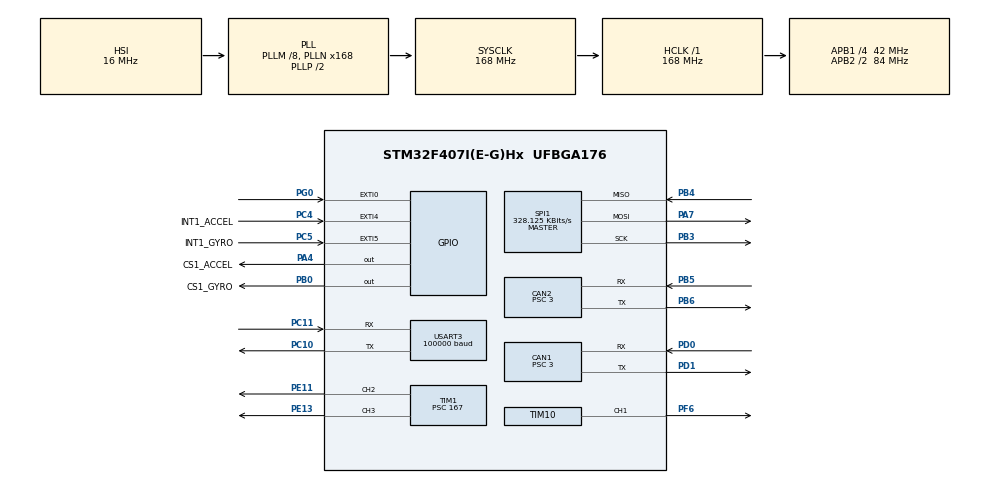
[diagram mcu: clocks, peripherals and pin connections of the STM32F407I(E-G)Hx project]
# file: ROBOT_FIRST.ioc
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CAN1.ABOM=ENABLE
CAN1.BS1=CAN_BS1_11TQ
CAN1.BS2=CAN_BS2_2TQ
CAN1.CalculateBaudRate=1000000
CAN1.CalculateTimeBit=1000
CAN1.CalculateTimeQuantum=71.42857142857143
CAN1.NART=ENABLE
CAN1.Prescaler=3
CAN2.BS1=CAN_BS1_11TQ
CAN2.BS2=CAN_BS2_2TQ
CAN2.CalculateBaudRate=1000000
CAN2.CalculateTimeBit=1000
CAN2.CalculateTimeQuantum=71.42857142857143
CAN2.NART=ENABLE
CAN2.Prescaler=3
Dma.Request0=USART3_RX
Dma.Request1=SPI1_RX
Dma.Request2=SPI1_TX
Dma.SPI1_RX.1.Direction=DMA_PERIPH_TO_MEMORY
Dma.SPI1_RX.1.FIFOMode=DMA_FIFOMODE_DISABLE
Dma.SPI1_RX.1.Instance=DMA2_Stream2
Dma.SPI1_RX.1.MemDataAlignment=DMA_MDATAALIGN_BYTE
Dma.SPI1_RX.1.MemInc=DMA_MINC_ENABLE
Dma.SPI1_RX.1.Mode=DMA_NORMAL
Dma.SPI1_RX.1.PeriphDataAlignment=DMA_PDATAALIGN_BYTE
Dma.SPI1_RX.1.PeriphInc=DMA_PINC_DISABLE
Dma.SPI1_RX.1.Priority=DMA_PRIORITY_LOW
Dma.SPI1_TX.2.Direction=DMA_MEMORY_TO_PERIPH
Dma.SPI1_TX.2.FIFOMode=DMA_FIFOMODE_DISABLE
Dma.SPI1_TX.2.Instance=DMA2_Stream3
Dma.SPI1_TX.2.MemDataAlignment=DMA_MDATAALIGN_BYTE
Dma.SPI1_TX.2.MemInc=DMA_MINC_ENABLE
Dma.SPI1_TX.2.Mode=DMA_NORMAL
Dma.SPI1_TX.2.PeriphDataAlignment=DMA_PDATAALIGN_BYTE
Dma.SPI1_TX.2.PeriphInc=DMA_PINC_DISABLE
Dma.SPI1_TX.2.Priority=DMA_PRIORITY_LOW
Dma.USART3_RX.0.Direction=DMA_PERIPH_TO_MEMORY
Dma.USART3_RX.0.FIFOMode=DMA_FIFOMODE_DISABLE
Dma.USART3_RX.0.Instance=DMA1_Stream1
Dma.USART3_RX.0.MemDataAlignment=DMA_MDATAALIGN_BYTE
Dma.USART3_RX.0.MemInc=DMA_MINC_ENABLE
Dma.USART3_RX.0.Mode=DMA_NORMAL
Dma.USART3_RX.0.PeriphDataAlignment=DMA_PDATAALIGN_BYTE
Dma.USART3_RX.0.PeriphInc=DMA_PINC_DISABLE
Dma.USART3_RX.0.Priority=DMA_PRIORITY_LOW
FREERTOS.Tasks01=defaultTask,24,128,StartDefaultTask,Default,NULL,Dynamic,NULL,NULL;RobotTask,32,512,StartRobotTask,Default,NULL,Dynamic,NULL,NULL
Mcu.Family=STM32F4
Mcu.Name=STM32F407I(E-G)Hx
Mcu.Package=UFBGA176
NVIC.CAN1_RX0_IRQn=true\:5\:0\:false\:false\:true\:true\:true\:true\:true
NVIC.CAN2_RX0_IRQn=true\:5\:0\:false\:false\:true\:true\:true\:true\:true
NVIC.DMA1_Stream1_IRQn=true\:5\:0\:false\:false\:true\:true\:false\:true\:true
NVIC.DMA2_Stream2_IRQn=true\:5\:0\:false\:false\:true\:false\:false\:true\:true
NVIC.DMA2_Stream3_IRQn=true\:5\:0\:false\:false\:true\:true\:false\:true\:true
NVIC.EXTI0_IRQn=true\:5\:0\:false\:false\:true\:true\:true\:true\:true
NVIC.EXTI4_IRQn=true\:5\:0\:false\:false\:true\:true\:true\:true\:true
NVIC.EXTI9_5_IRQn=true\:5\:0\:false\:false\:true\:true\:true\:true\:true
NVIC.PriorityGroup=NVIC_PRIORITYGROUP_4
NVIC.TIM7_IRQn=true\:15\:0\:false\:false\:true\:false\:false\:true\:true
NVIC.TimeBase=TIM7_IRQn
NVIC.TimeBaseIP=TIM7
NVIC.USART3_IRQn=true\:5\:0\:false\:false\:true\:true\:true\:true\:true
PA13.Mode=Serial_Wire
PA13.Signal=SYS_JTMS-SWDIO
PA14.Mode=Serial_Wire
PA14.Signal=SYS_JTCK-SWCLK
PA4.GPIO_Label=CS1_ACCEL
PA4.GPIO_PuPd=GPIO_PULLUP
PA4.GPIO_Speed=GPIO_SPEED_FREQ_HIGH
PA4.PinState=GPIO_PIN_SET
PA4.Signal=GPIO_Output
PA7.GPIO_PuPd=GPIO_PULLUP
PA7.Mode=Full_Duplex_Master
PA7.Signal=SPI1_MOSI
PB0.GPIO_Label=CS1_GYRO
PB0.GPIO_PuPd=GPIO_PULLUP
PB0.GPIO_Speed=GPIO_SPEED_FREQ_HIGH
PB0.PinState=GPIO_PIN_SET
PB0.Signal=GPIO_Output
PB3.GPIO_PuPd=GPIO_PULLUP
PB3.Mode=Full_Duplex_Master
PB3.Signal=SPI1_SCK
PB4.GPIO_PuPd=GPIO_PULLUP
PB4.Mode=Full_Duplex_Master
PB4.Signal=SPI1_MISO
PB5.Mode=CAN_Activate
PB5.Signal=CAN2_RX
PB6.Mode=CAN_Activate
PB6.Signal=CAN2_TX
PC10.Mode=Asynchronous
PC10.Signal=USART3_TX
PC11.Mode=Asynchronous
PC11.Signal=USART3_RX
PC4.GPIO_Label=INT1_ACCEL
PC4.GPIO_ModeDefaultEXTI=GPIO_MODE_IT_FALLING
PC4.GPIO_PuPd=GPIO_PULLUP
PC4.Signal=GPXTI4
PC5.GPIO_Label=INT1_GYRO
PC5.GPIO_ModeDefaultEXTI=GPIO_MODE_IT_FALLING
PC5.GPIO_PuPd=GPIO_PULLUP
PC5.Signal=GPXTI5
PD0.Mode=CAN_Activate
PD0.Signal=CAN1_RX
PD1.Mode=CAN_Activate
PD1.Signal=CAN1_TX
PE11.Signal=S_TIM1_CH2
PE13.Signal=S_TIM1_CH3
PE9.Signal=S_TIM1_CH1
PF6.Signal=S_TIM10_CH1
PG0.GPIO_ModeDefaultEXTI=GPIO_MODE_IT_FALLING
PG0.GPIO_PuPd=GPIO_PULLUP
PG0.Signal=GPXTI0
PH0-OSC_IN.Mode=HSE-External-Oscillator
PH0-OSC_IN.Signal=RCC_OSC_IN
PH1-OSC_OUT.Mode=HSE-External-Oscillator
PH1-OSC_OUT.Signal=RCC_OSC_OUT
ProjectManager.HeapSize=0x200
ProjectManager.StackSize=0x400
ProjectManager.TargetToolchain=CMake
RCC.48MHZClocksFreq_Value=84000000
RCC.AHBFreq_Value=168000000
RCC.APB1CLKDivider=RCC_HCLK_DIV4
RCC.APB1Freq_Value=42000000
RCC.APB1TimFreq_Value=84000000
RCC.APB2CLKDivider=RCC_HCLK_DIV2
RCC.APB2Freq_Value=84000000
RCC.APB2TimFreq_Value=168000000
RCC.CortexFreq_Value=168000000
RCC.HCLKFreq_Value=168000000
RCC.HSE_VALUE=25000000
RCC.HSI_VALUE=16000000
RCC.LSE_VALUE=32768
RCC.PLLM=8
RCC.PLLN=168
RCC.SYSCLKFreq_VALUE=168000000
RCC.SYSCLKSource=RCC_SYSCLKSOURCE_PLLCLK
RCC.VCOOutputFreq_Value=336000000
SH.S_TIM10_CH1.0=TIM10_CH1,PWM Generation1 CH1
SH.S_TIM1_CH1.0=TIM1_CH1
SH.S_TIM1_CH2.0=TIM1_CH2,PWM Generation2 CH2
SH.S_TIM1_CH3.0=TIM1_CH3,PWM Generation3 CH3
SPI1.BaudRatePrescaler=SPI_BAUDRATEPRESCALER_256
SPI1.CLKPhase=SPI_PHASE_2EDGE
SPI1.CLKPolarity=SPI_POLARITY_HIGH
SPI1.CalculateBaudRate=328.125 KBits/s
SPI1.Direction=SPI_DIRECTION_2LINES
SPI1.Mode=SPI_MODE_MASTER
SPI1.VirtualType=VM_MASTER
TIM1.Channel-PWM\ Generation2\ CH2=TIM_CHANNEL_2
TIM1.Channel-PWM\ Generation3\ CH3=TIM_CHANNEL_3
TIM1.Period=19999
TIM1.Prescaler=167
TIM1.Pulse-PWM\ Generation2\ CH2=1500
TIM10.Channel=TIM_CHANNEL_1
TIM10.Period=4999
USART3.BaudRate=100000
USART3.Mode=MODE_RX
USART3.Parity=PARITY_EVEN
USART3.VirtualMode=VM_ASYNC
USART3.WordLength=WORDLENGTH_9B
VP_FREERTOS_VS_CMSIS_V2.Mode=CMSIS_V2
VP_SYS_VS_tim7.Mode=TIM7
VP_TIM10_VS_ClockSourceINT.Mode=Enable_Timer
VP_TIM1_VS_ClockSourceINT.Mode=Internal
board=custom

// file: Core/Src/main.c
/* USER CODE BEGIN Header */
/**
  ******************************************************************************
  * @file           : main.c
  * @brief          : Main program body
  ******************************************************************************
  * @attention
  *
  * Copyright (c) 2026 STMicroelectronics.
  * All rights reserved.
  *
  * This software is licensed under terms that can be found in the LICENSE file
  * in the root directory of this software component.
  * If no LICENSE file comes with this software, it is provided AS-IS.
  *
  ******************************************************************************
  */
/* USER CODE END Header */
#include "main.h"
#include "cmsis_os.h"
#include "can.h"
#include "dma.h"
#include "spi.h"
#include "tim.h"
#include "usart.h"
#include "gpio.h"

/* USER CODE BEGIN Includes */
#include "robot.hpp"
#include "bsp_delay.hpp"
/* USER CODE END Includes */

void SystemClock_Config(void);
void MX_FREERTOS_Init(void);

int main(void)
{

  /* MCU Configuration--------------------------------------------------------*/

  /* Reset of all peripherals, Initializes the Flash interface and the Systick. */
  HAL_Init();

  /* Configure the system clock */
  SystemClock_Config();

  /* Initialize all configured peripherals */
  MX_GPIO_Init();
  MX_DMA_Init();
  MX_CAN1_Init();
  MX_TIM1_Init();
  MX_USART3_UART_Init();
  MX_CAN2_Init();
  MX_SPI1_Init();
  MX_TIM10_Init();
  /* USER CODE BEGIN 2 */
  /*
   * Robot_Init starts CAN reception, the remote-control DMA receiver, and
   * the three servo PWM channels.  Start the control timer only after those
   * peripherals are ready, so Robot_Task cannot run against partial state.
   */
  delay_init();
  Robot_Init();
  /* USER CODE END 2 */

  /* Init scheduler */
  osKernelInitialize();

  /* Call init function for freertos objects (in cmsis_os2.c) */
  MX_FREERTOS_Init();

  /* Start scheduler */
  osKernelStart();

  /* We should never get here as control is now taken by the scheduler */

  /* Infinite loop */
  while (1)
  {

  }
}

void SystemClock_Config(void)
{
  RCC_OscInitTypeDef RCC_OscInitStruct = {0};
  RCC_ClkInitTypeDef RCC_ClkInitStruct = {0};

  /** Configure the main internal regulator output voltage
  */
  __HAL_RCC_PWR_CLK_ENABLE();
  __HAL_PWR_VOLTAGESCALING_CONFIG(PWR_REGULATOR_VOLTAGE_SCALE1);

  /** Initializes the RCC Oscillators according to the specified parameters
  * in the RCC_OscInitTypeDef structure.
  */
  RCC_OscInitStruct.OscillatorType = RCC_OSCILLATORTYPE_HSI;
  RCC_OscInitStruct.HSIState = RCC_HSI_ON;
  RCC_OscInitStruct.HSICalibrationValue = RCC_HSICALIBRATION_DEFAULT;
  RCC_OscInitStruct.PLL.PLLState = RCC_PLL_ON;
  RCC_OscInitStruct.PLL.PLLSource = RCC_PLLSOURCE_HSI;
  RCC_OscInitStruct.PLL.PLLM = 8;
  RCC_OscInitStruct.PLL.PLLN = 168;
  RCC_OscInitStruct.PLL.PLLP = RCC_PLLP_DIV2;
  RCC_OscInitStruct.PLL.PLLQ = 4;
  if (HAL_RCC_OscConfig(&RCC_OscInitStruct) != HAL_OK)
  {
    Error_Handler();
  }

  /** Initializes the CPU, AHB and APB buses clocks
  */
  RCC_ClkInitStruct.ClockType = RCC_CLOCKTYPE_HCLK|RCC_CLOCKTYPE_SYSCLK
                              |RCC_CLOCKTYPE_PCLK1|RCC_CLOCKTYPE_PCLK2;
  RCC_ClkInitStruct.SYSCLKSource = RCC_SYSCLKSOURCE_PLLCLK;
  RCC_ClkInitStruct.AHBCLKDivider = RCC_SYSCLK_DIV1;
  RCC_ClkInitStruct.APB1CLKDivider = RCC_HCLK_DIV4;
  RCC_ClkInitStruct.APB2CLKDivider = RCC_HCLK_DIV2;

  if (HAL_RCC_ClockConfig(&RCC_ClkInitStruct, FLASH_LATENCY_5) != HAL_OK)
  {
    Error_Handler();
  }
}

void HAL_TIM_PeriodElapsedCallback(TIM_HandleTypeDef *htim)
{
  if (htim->Instance == TIM7)
  {
    HAL_IncTick();
  }
}

void Error_Handler(void)
{
  __disable_irq();
  while (1)
  {
  }
}

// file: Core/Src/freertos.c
/* USER CODE BEGIN Header */
/**
  ******************************************************************************
  * File Name          : freertos.c
  * Description        : Code for freertos applications
  ******************************************************************************
  * @attention
  *
  * Copyright (c) 2026 STMicroelectronics.
  * All rights reserved.
  *
  * This software is licensed under terms that can be found in the LICENSE file
  * in the root directory of this software component.
  * If no LICENSE file comes with this software, it is provided AS-IS.
  *
  ******************************************************************************
  */
/* USER CODE END Header */

#include "FreeRTOS.h"
#include "task.h"
#include "main.h"
#include "cmsis_os2.h"

/* USER CODE BEGIN Includes */
#include "robot.hpp"
/* USER CODE END Includes */

/* Definitions for defaultTask */
osThreadId_t defaultTaskHandle;
const osThreadAttr_t defaultTask_attributes = {
  .name = "defaultTask",
  .stack_size = 128 * 4,
  .priority = (osPriority_t) osPriorityNormal,
};
/* Definitions for RobotTask */
osThreadId_t RobotTaskHandle;
const osThreadAttr_t RobotTask_attributes = {
  .name = "RobotTask",
  .stack_size = 512 * 4,
  .priority = (osPriority_t) osPriorityAboveNormal,
};

void StartDefaultTask(void *argument);
void StartRobotTask(void *argument);

void MX_FREERTOS_Init(void); /* (MISRA C 2004 rule 8.1) */

void MX_FREERTOS_Init(void) {

  /* Create the thread(s) */
  /* creation of defaultTask */
  defaultTaskHandle = osThreadNew(StartDefaultTask, NULL, &defaultTask_attributes);

  /* creation of RobotTask */
  RobotTaskHandle = osThreadNew(StartRobotTask, NULL, &RobotTask_attributes);

  /* USER CODE BEGIN RTOS_THREADS */
  /* add threads, ... */
  if (RobotTaskHandle == NULL)
  {
      Error_Handler();
  }

  /* USER CODE END RTOS_THREADS */

}

void StartDefaultTask(void *argument)
{
  /* USER CODE BEGIN StartDefaultTask */
  (void)argument;
  /* Infinite loop */
  for(;;)
  {
    osDelay(1000U);
  }
  /* USER CODE END StartDefaultTask */
}

void StartRobotTask(void *argument)
{
  /* USER CODE BEGIN StartRobotTask */
  (void)argument;

  const uint32_t tickHz = osKernelGetTickFreq();

  /* 将2 ms转换成RTOS tick，向上取整 */
  uint32_t periodTicks =
      (uint32_t)(((uint64_t)2U * tickHz + 999U) / 1000U);

  if (periodTicks == 0U)
  {
      periodTicks = 1U;
  }

  uint32_t nextWake = osKernelGetTickCount();
  /* Infinite loop */
  for(;;)
  {
    Robot_Task();
    nextWake += periodTicks;

    if (osDelayUntil(nextWake) != osOK)
    {
        /*
          * 周期超时时也必须阻塞，
          * 避免一直占用CPU。
          */
        osDelay(1U);
        nextWake = osKernelGetTickCount();
    }
  }
  /* USER CODE END StartRobotTask */
}
